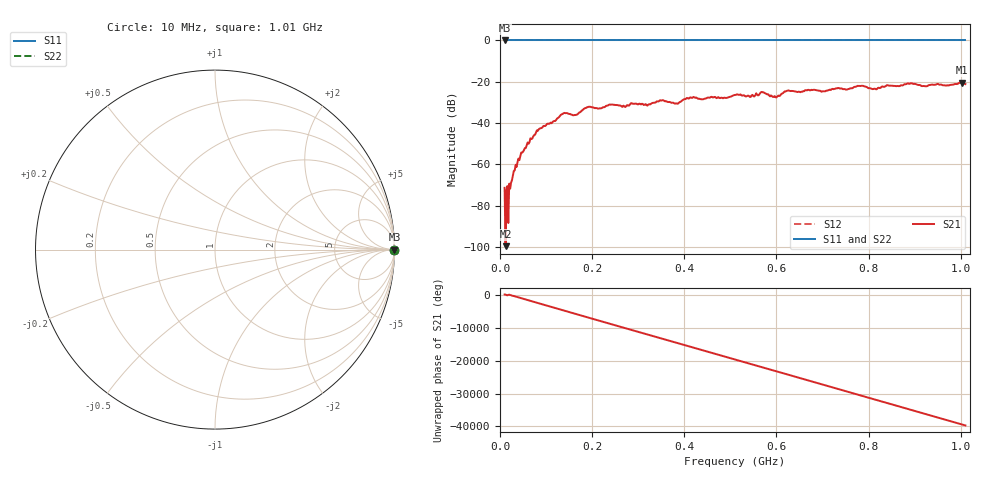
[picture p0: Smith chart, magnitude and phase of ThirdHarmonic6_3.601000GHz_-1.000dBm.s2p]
! 8/17/2025 12:00:28 PM
! C:\ANRITSUVNA\TEMP\TEMP.S2P
! CHANNEL.1
! TR.MEASUREMENT
! RAW.DATA
! RF.CORRECTION.OFF
! AVERAGING.OFF
! IF.BANDWIDTH: 5KHZ
! SWEEPTYPE:  FREQ.SWEEP(Linear)
! Reference Plane Port Info
! PORT:  PORT1  PORT2
! DISTANCE:  0  m  0  m
! TIME:  0  s  0  s
! PHASE.OFFSET:  0  deg.  0  deg.
! LOSS:  0  dB  0  dB
! REF.LOSS:  0  dB  0  dB
! REF.FREQ:  0  Hz  0  Hz
! Power Info
! POWER:  -20  dBm  -20  dBm
! EFF.POWER:  -20  dBm  -20  dBm
! SOURCE.ATTEN:  0  dB  0  dB
! TEST.ATTEN:  0  dB  0  dB
# GHZ S RI R 50.0
! FREQ.GHZ  S11RE  S11IM  S21RE  S21IM  S12RE  S12IM  S22RE  S22IM
!; PortSelection: Port_12
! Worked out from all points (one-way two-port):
!   501 points, 10 MHz to 1.01 GHz, reference 50 ohm
!   highest |S21| = -20.42 dB at 1.002 GHz (marker M1); lowest = -99.6 dB at 12 MHz (marker M2)
!   lowest |S11| = 0.0 dB at 10 MHz (marker M3)
!   |S11| at or under -10 dB: nowhere
!   |S22| runs from 0.0 to 0.0 dB; largest |S21 - S12| = 1.1
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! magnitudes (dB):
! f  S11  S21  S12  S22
! 10 MHz  0.0  -71.3  0.0  0.0
! 12 MHz  0.0  -99.6  0.0  0.0
! 14 MHz  0.0  -73.0  0.0  0.0
! 22 MHz  0.0  -71.8  0.0  0.0
! 30 MHz  0.0  -63.1  0.0  0.0
! 44 MHz  0.0  -56.2  0.0  0.0
! 82 MHz  0.0  -43.8  0.0  0.0
! 136 MHz  0.0  -35.6  0.0  0.0
! 162 MHz  0.0  -36.1  0.0  0.0
! 178 MHz  0.0  -33.9  0.0  0.0
! 192 MHz  0.0  -32.1  0.0  0.0
! 344 MHz  0.0  -29.5  0.0  0.0
! 382 MHz  0.0  -30.4  0.0  0.0
! 416 MHz  0.0  -27.8  0.0  0.0
! 510 MHz  0.0  -26.4  0.0  0.0
! 570 MHz  0.0  -25.1  0.0  0.0
! 596 MHz  0.0  -26.9  0.0  0.0
! 622 MHz  0.0  -24.4  0.0  0.0
! 678 MHz  0.0  -24.0  0.0  0.0
! 844 MHz  0.0  -21.9  0.0  0.0
! 1.002 GHz  0.0  -20.4  0.0  0.0
! 1.01 GHz  0.0  -21.1  0.0  0.0
